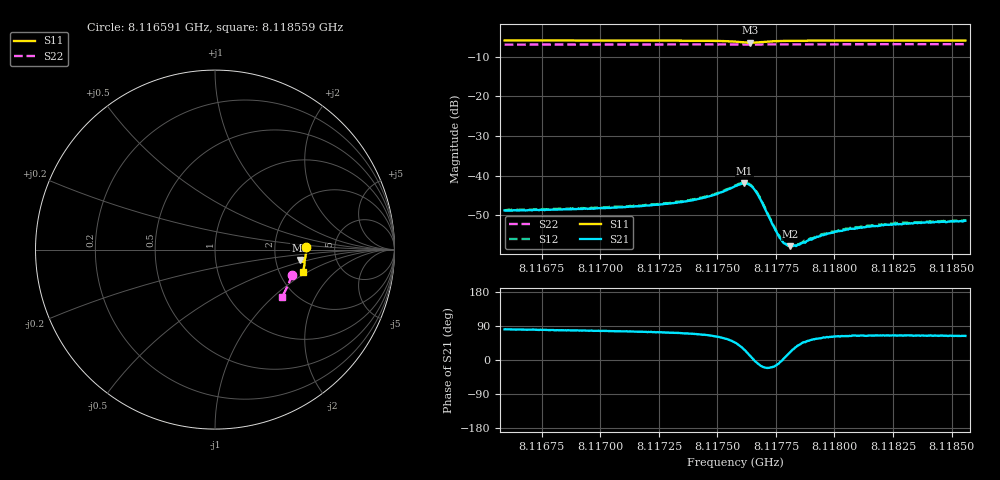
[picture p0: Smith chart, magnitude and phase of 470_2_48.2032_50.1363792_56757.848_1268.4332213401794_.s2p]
#  HZ  S  RI  R  50.00
! Rohde & Schwarz Vector Network Analyzer
! Rohde-Schwarz,ZNB20-2Port,1311601062101988,3.16
! Created: UTC 3/20/2024, 11:57:07 AM
! freq[Hz]  re:S11  im:S11  re:S21  im:S21  re:S12  im:S12  re:S22  im:S22
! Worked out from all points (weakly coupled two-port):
!   401 points, 8.116591 GHz to 8.118559 GHz, reference 50 ohm
!   highest |S21| = -41.95 dB at 8.117614 GHz (marker M1); lowest = -57.8 dB at 8.117811 GHz (marker M2)
!   lowest |S11| = -6.5 dB at 8.117639 GHz (marker M3), VSWR 2.81, Z = 137 - j20.4 ohm
!   |S11| at or under -10 dB: nowhere
!   |S22| runs from -6.9 to -6.8 dB; largest |S21 - S12| = 0.0002
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8.116591e9  0.5072 0.0153  0.000575 0.0036  0.000625 0.00362  0.4276 -0.1411
8.1169207e9  0.5069 -0.01  0.000815 0.00372  0.000866 0.00382  0.4208 -0.1629
8.1171077e9  0.5059 -0.0249  0.00101 0.0039  0.00106 0.00396  0.4163 -0.1754
8.1172504e9  0.5047 -0.0367  0.00126 0.00414  0.0013 0.0042  0.4127 -0.1847
8.1173586e9  0.5028 -0.0464  0.00161 0.00445  0.00165 0.00454  0.4097 -0.1917
8.1174521e9  0.4999 -0.0558  0.00219 0.00493  0.00228 0.00499  0.4071 -0.1978
8.1175111e9  0.4961 -0.0624  0.00305 0.00534  0.00315 0.0054  0.4052 -0.2017
8.1175751e9  0.4861 -0.0687  0.00511 0.00531  0.00523 0.00536  0.403 -0.2056
8.1176145e9  0.4756 -0.0657  0.00709 0.00368  0.00721 0.00371  0.4013 -0.2078
8.1176391e9  0.472 -0.0577  0.00748 0.0015  0.00765 0.00149  0.4006 -0.2088
8.1176588e9  0.4743 -0.0507  0.00667 -0.000212  0.00681 -0.000204  0.4002 -0.2098
8.1176735e9  0.4784 -0.0475  0.00561 -0.000994  0.00579 -0.00102  0.4 -0.2105
8.1177473e9  0.4949 -0.0524  0.002 -0.000548  0.00204 -0.000616  0.3985 -0.2155
8.1177719e9  0.4969 -0.0558  0.00158 -0.000101  0.00161 -0.000138  0.3979 -0.217
8.1177916e9  0.4979 -0.0585  0.00137 0.000205  0.00135 0.000209  0.3972 -0.2184
8.1178113e9  0.4987 -0.0611  0.00121 0.000457  0.00124 0.000465  0.3968 -0.2194
8.1178408e9  0.4992 -0.0647  0.00107 0.000809  0.0011 0.000785  0.3958 -0.2214
8.1179048e9  0.4994 -0.0715  0.000934 0.00127  0.000978 0.00127  0.3938 -0.2257
8.117954e9  0.4994 -0.0763  0.000901 0.00154  0.000969 0.00157  0.3922 -0.2287
8.1180573e9  0.4982 -0.0854  0.000954 0.00187  0.000982 0.00192  0.3887 -0.235
8.1182345e9  0.4957 -0.0997  0.00104 0.00217  0.00107 0.00223  0.3826 -0.246
8.1185593e9  0.4901 -0.1243  0.00121 0.00243  0.00124 0.00243  0.3706 -0.2654
